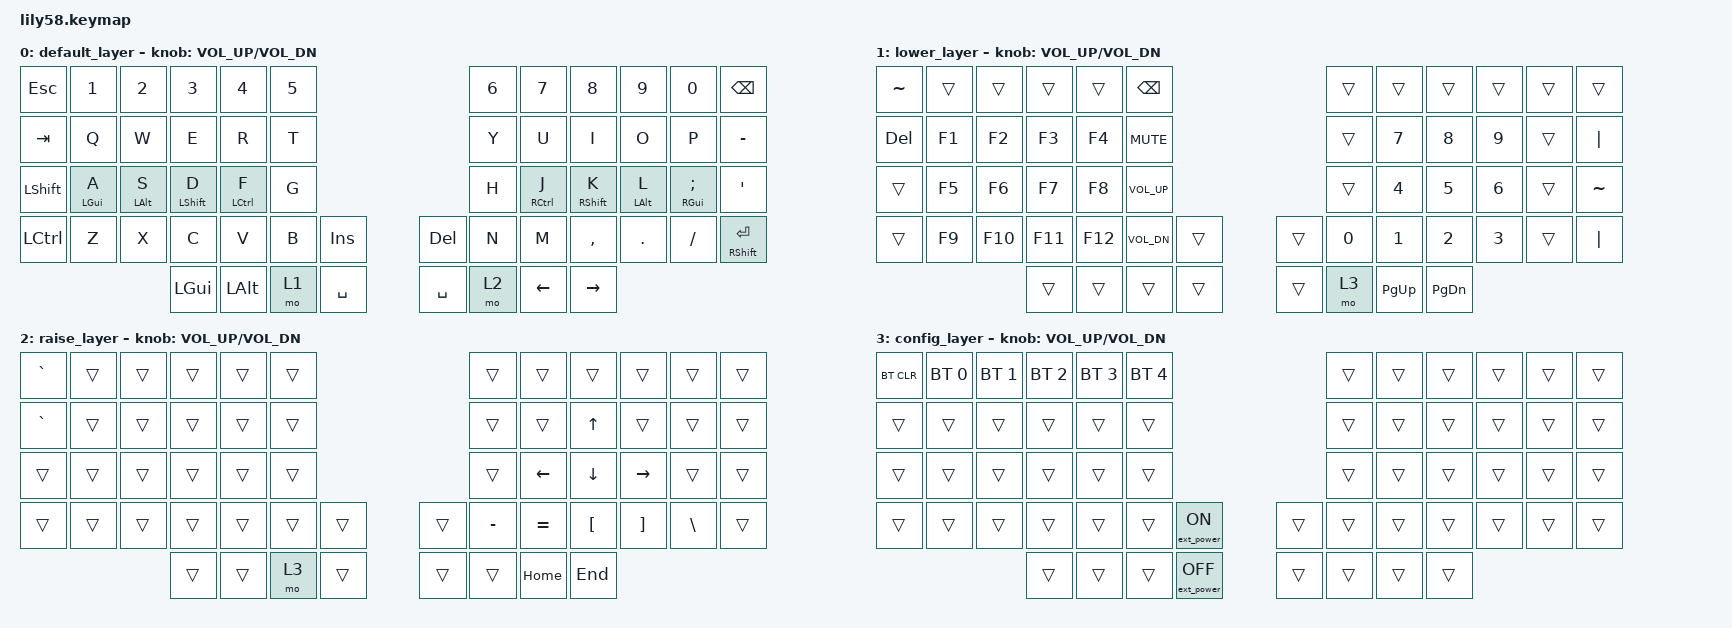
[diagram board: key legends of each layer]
/*
 * Copyright (c) 2020 The ZMK Contributors
 *
 * SPDX-License-Identifier: MIT
 */

#include <behaviors.dtsi>
#include <dt-bindings/zmk/keys.h>
#include <dt-bindings/zmk/bt.h>
#include <dt-bindings/zmk/ext_power.h>

/ {
	keymap {
		compatible = "zmk,keymap";

		default_layer {
// ------------------------------------------------------------------------------------------------------------
// |  ESC   |  1  |  2  |   3   |  4  |  5  |                   |  6   |  7    |  8    |  9   |   0   | BSPC  |
// |  TAB   |  Q  |  W  |   E   |  R  |  T  |                   |  Y   |  U    |  I    |  O   |   P   |   -   |
// |  SHIFT |  A  |  S  |   D   |  F  |  G  |                   |  H   |  J    |  K    |  L   |   ;   |   '   |
// |  CTRL  |  Z  |  X  |   C   |  V  |  B  |   INS  |  |  DEL  |  N   |  M    |  ,    |  .   |   /   |RSH-RET|
//                      | LOWER | GUI | ALT |  SPACE |  | SPACE | RAISE|  <-   |  ->   |
			bindings = <
&kp ESC   &kp N1 &kp N2 &kp N3      &kp N4   &kp N5                     	        &kp N6 	&kp N7   	&kp N8    &kp N9  &kp N0   &kp BSPC
&kp TAB   &kp Q  &kp W  &kp E       &kp R    &kp T                      	        &kp Y  	&kp U    	&kp I     &kp O   &kp P    &kp MINUS
&kp LSHFT &mt LGUI A  &mt LALT S  &mt LSHFT D       &mt LCTRL F    &kp G                      	        &kp H  	&mt RCTRL J    	&mt RSHFT K &mt LALT L   &mt RGUI SEMI &kp SQT
&kp LCTRL &kp Z  &kp X  &kp C       &kp V    &kp B       &kp INS    &kp DEL      &kp N  	&kp M    	&kp COMMA &kp DOT &kp FSLH &mt RSHFT ENTER
						&kp LGUI    &kp LALT &mo 1     &kp SPACE  &kp SPACE    &mo 2  	&kp LEFT 	&kp RIGHT
			>;

			sensor-bindings = <&inc_dec_kp C_VOL_UP C_VOL_DN>;
		};

		lower_layer {
// -------------------------------------------------------------------------------------------------------------
// |   ~   |      |     |      |      | BSPC |                   |      |       |       |       |       |       |
// |  DEL  |  F1  |  F2 |  F3  |  F4  | MUTE |                   |      |   7   |   8   |   9   |       |  "|"  |
// |       |  F5  |  F6 |  F7  |  F8  | VOL▲ |                   |      |   4   |   5   |   6   |       |   ~   |
// |       |  F9  | F10 | F11  | F12  | VOL▼ |        |  |       |   0  |   1   |   2   |   3   |       |  "|"  |
//                      |      |      |      |        |  |       | CNFG | PG_UP | PG_DN |
			bindings = <
&kp TILDE   &trans  &trans   &trans     &trans  &kp BSPC                        &trans    &trans     &trans    &trans    &trans    &trans
&kp DEL     &kp F1  &kp F2   &kp F3     &kp F4  &kp C_MUTE                      &trans    &kp N7     &kp N8    &kp N9    &trans    &kp PIPE
&trans      &kp F5  &kp F6   &kp F7     &kp F8  &kp C_VOL_UP                    &trans    &kp N4     &kp N5    &kp N6    &trans    &kp TILDE
&trans      &kp F9  &kp F10  &kp F11    &kp F12 &kp C_VOL_DN    &trans  &trans  &kp N0    &kp N1     &kp N2    &kp N3    &trans    &kp PIPE
	                         &trans     &trans  &trans          &trans  &trans  &mo 3     &kp PG_UP  &kp PG_DN
			>;

			sensor-bindings = <&inc_dec_kp C_VOL_UP C_VOL_DN>;
		};

		raise_layer {
// ------------------------------------------------------------------------------------------------------------
// |    `       |       |       |       |       |       |                   |           |           |           |           |           |       |
// |    `       |       |       |       |       |       |                   |           |           |    ^      |           |           |   \   |
// |            |       |       |       |       |       |                   |           |     <-    |    ^      |  ->       |           |       |
// |            |       |       |       |       |       |       |  |        |     -     |     =     |   [       |   ]       |   \       |       |
//                              |       |       |       |       |  |        |           |    HOME   |   END     |
			bindings = <
    &kp GRAVE   &trans  &trans  &trans  &trans  &trans                      &trans      &trans      &trans      &trans      &trans      &trans
    &kp GRAVE   &trans  &trans  &trans  &trans  &trans                      &trans      &trans      &kp UP      &trans      &trans      &trans
    &trans      &trans  &trans  &trans  &trans  &trans                      &trans      &kp LEFT    &kp DOWN    &kp RIGHT   &trans      &trans
    &trans      &trans  &trans  &trans  &trans  &trans  &trans      &trans  &kp MINUS   &kp EQUAL   &kp LBKT 	&kp RBKT    &kp BSLH    &trans
    						    &trans  &trans  &mo 3   &trans      &trans  &trans      &kp HOME    &kp END
			>;

			sensor-bindings = <&inc_dec_kp C_VOL_UP C_VOL_DN>;
		};

        config_layer {
// ------------------------------------------------------------------------------------------------------------
// | BTCLR |  BT1  |  BT2  |  BT3  |  BT4  |  BT5  |                   |      |       |       |       |       |       |
// |       |       |       |       |       |       |                   |      |       |       |       |       |       |
// |       |       |       |       |       |       |                   |      |       |       |       |       |       |
// |       |       |       |       |       |       |  EP_ON |  |       |      |       |       |       |       |       |
//                         |       |       |       | EP_OFF |  |       |      |       |       |
            bindings = <
&bt BT_CLR  &bt BT_SEL 0  &bt BT_SEL 1  &bt BT_SEL 2  &bt BT_SEL 3  &bt BT_SEL 4      &trans  &trans  &trans  &trans  &trans  &trans
&trans      &trans  &trans  &trans  &trans  &trans                                   &trans  &trans   &trans  &trans  &trans  &trans
&trans      &trans  &trans  &trans  &trans  &trans                                   &trans  &trans   &trans  &trans  &trans  &trans
&trans      &trans  &trans  &trans  &trans  &trans  &ext_power EP_ON        &trans   &trans  &trans   &trans  &trans  &trans  &trans
                            &trans  &trans  &trans  &ext_power EP_OFF       &trans   &trans  &trans   &trans
            >;

            sensor-bindings = <&inc_dec_kp C_VOL_UP C_VOL_DN>;
        };
	};
};
